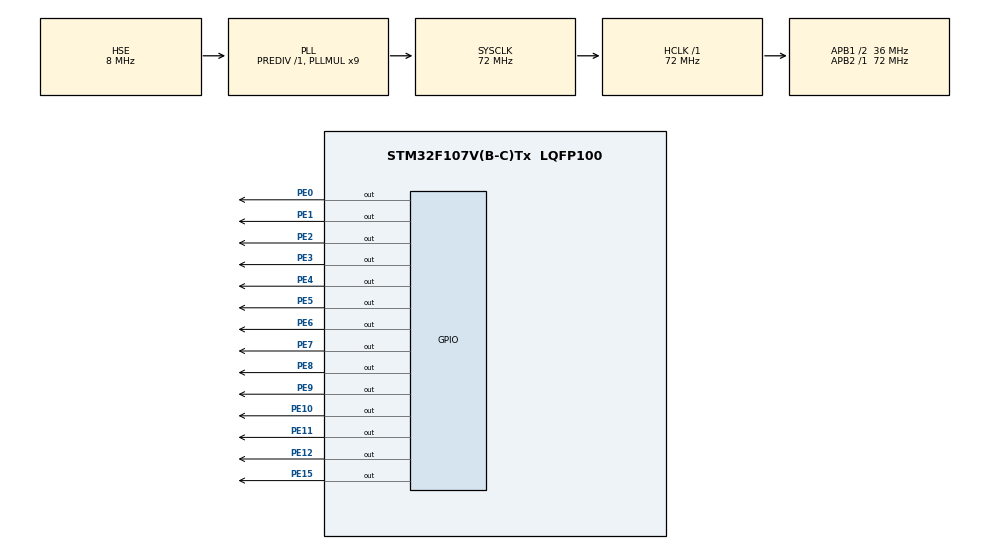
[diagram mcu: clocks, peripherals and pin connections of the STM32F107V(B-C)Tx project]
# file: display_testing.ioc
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Mcu.Family=STM32F1
Mcu.Name=STM32F107V(B-C)Tx
Mcu.Package=LQFP100
NVIC.PriorityGroup=NVIC_PRIORITYGROUP_4
OSC_IN.Mode=HSE-External-Oscillator
OSC_IN.Signal=RCC_OSC_IN
OSC_OUT.Mode=HSE-External-Oscillator
OSC_OUT.Signal=RCC_OSC_OUT
PE0.Signal=GPIO_Output
PE1.Signal=GPIO_Output
PE10.Signal=GPIO_Output
PE11.Signal=GPIO_Output
PE12.Signal=GPIO_Output
PE15.Signal=GPIO_Output
PE2.Signal=GPIO_Output
PE3.Signal=GPIO_Output
PE4.Signal=GPIO_Output
PE5.Signal=GPIO_Output
PE6.Signal=GPIO_Output
PE7.Signal=GPIO_Output
PE8.Signal=GPIO_Output
PE9.Signal=GPIO_Output
ProjectManager.HeapSize=0x200
ProjectManager.StackSize=0x400
ProjectManager.TargetToolchain=STM32CubeIDE
RCC.AHBFreq_Value=72000000
RCC.APB1CLKDivider=RCC_HCLK_DIV2
RCC.APB1Freq_Value=36000000
RCC.APB1TimFreq_Value=72000000
RCC.APB2Freq_Value=72000000
RCC.APB2TimFreq_Value=72000000
RCC.HCLKFreq_Value=72000000
RCC.PLLMUL=RCC_PLL_MUL9
RCC.PLLSourceVirtual=RCC_PLLSOURCE_HSE
RCC.SYSCLKFreq_VALUE=72000000
RCC.SYSCLKSource=RCC_SYSCLKSOURCE_PLLCLK
RCC.USBFreq_Value=48000000
TIM1.Prescaler=72-1
VP_SYS_VS_ND.Mode=No_Debug
VP_TIM1_VS_ClockSourceINT.Mode=Internal
board=custom

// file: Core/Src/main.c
/* USER CODE BEGIN Header */
/**
  ******************************************************************************
  * @file           : main.c
  * @brief          : Main program body
  ******************************************************************************
  * @attention
  *
  * Copyright (c) 2025 STMicroelectronics.
  * All rights reserved.
  *
  * This software is licensed under terms that can be found in the LICENSE file
  * in the root directory of this software component.
  * If no LICENSE file comes with this software, it is provided AS-IS.
  *
  ******************************************************************************
  */
/* USER CODE END Header */
#include "main.h"

/* USER CODE BEGIN Includes */
#include "fonts.h"
#include "tft.h"
#include "functions.h"
/* USER CODE END Includes */

TIM_HandleTypeDef htim1;

void SystemClock_Config(void);
static void MX_GPIO_Init(void);
static void MX_TIM1_Init(void);

/* USER CODE BEGIN 0 */
uint16_t ID = 0;
/* USER CODE END 0 */

int main(void)
{

  /* MCU Configuration--------------------------------------------------------*/

  /* Reset of all peripherals, Initializes the Flash interface and the Systick. */
  HAL_Init();

  /* Configure the system clock */
  SystemClock_Config();

  /* Initialize all configured peripherals */
  MX_GPIO_Init();
  MX_TIM1_Init();
  /* USER CODE BEGIN 2 */

  HAL_TIM_Base_Start(&htim1);

  ID = readID();

  HAL_Delay(100);

  tft_init (ID);

  setRotation(0);

  fillScreen(BLACK);

// testFillScreen();
//  testLines(CYAN);
//  testFastLines(RED, BLUE);
//  testFilledCircles(10, MAGENTA);
//  testCircles(10, WHITE);

  fillScreen(BLACK);

  setRotation(0);

  printnewtstr(100, RED, &mono12x7bold, 1, "yes I am working dude");

  scrollup(100);

  invertDisplay(1);

  /* USER CODE END 2 */

  /* Infinite loop */
  while (1)
  {

  }
}

void SystemClock_Config(void)
{
  RCC_OscInitTypeDef RCC_OscInitStruct = {0};
  RCC_ClkInitTypeDef RCC_ClkInitStruct = {0};

  /** Initializes the RCC Oscillators according to the specified parameters
  * in the RCC_OscInitTypeDef structure.
  */
  RCC_OscInitStruct.OscillatorType = RCC_OSCILLATORTYPE_HSE;
  RCC_OscInitStruct.HSEState = RCC_HSE_ON;
  RCC_OscInitStruct.HSEPredivValue = RCC_HSE_PREDIV_DIV1;
  RCC_OscInitStruct.HSIState = RCC_HSI_ON;
  RCC_OscInitStruct.Prediv1Source = RCC_PREDIV1_SOURCE_HSE;
  RCC_OscInitStruct.PLL.PLLState = RCC_PLL_ON;
  RCC_OscInitStruct.PLL.PLLSource = RCC_PLLSOURCE_HSE;
  RCC_OscInitStruct.PLL.PLLMUL = RCC_PLL_MUL9;
  RCC_OscInitStruct.PLL2.PLL2State = RCC_PLL_NONE;
  if (HAL_RCC_OscConfig(&RCC_OscInitStruct) != HAL_OK)
  {
    Error_Handler();
  }

  /** Initializes the CPU, AHB and APB buses clocks
  */
  RCC_ClkInitStruct.ClockType = RCC_CLOCKTYPE_HCLK|RCC_CLOCKTYPE_SYSCLK
                              |RCC_CLOCKTYPE_PCLK1|RCC_CLOCKTYPE_PCLK2;
  RCC_ClkInitStruct.SYSCLKSource = RCC_SYSCLKSOURCE_PLLCLK;
  RCC_ClkInitStruct.AHBCLKDivider = RCC_SYSCLK_DIV1;
  RCC_ClkInitStruct.APB1CLKDivider = RCC_HCLK_DIV2;
  RCC_ClkInitStruct.APB2CLKDivider = RCC_HCLK_DIV1;

  if (HAL_RCC_ClockConfig(&RCC_ClkInitStruct, FLASH_LATENCY_2) != HAL_OK)
  {
    Error_Handler();
  }

  /** Configure the Systick interrupt time
  */
  __HAL_RCC_PLLI2S_ENABLE();
}

static void MX_TIM1_Init(void)
{

  TIM_ClockConfigTypeDef sClockSourceConfig = {0};
  TIM_MasterConfigTypeDef sMasterConfig = {0};

  htim1.Instance = TIM1;
  htim1.Init.Prescaler = 72-1;
  htim1.Init.CounterMode = TIM_COUNTERMODE_UP;
  htim1.Init.Period = 65535;
  htim1.Init.ClockDivision = TIM_CLOCKDIVISION_DIV1;
  htim1.Init.RepetitionCounter = 0;
  htim1.Init.AutoReloadPreload = TIM_AUTORELOAD_PRELOAD_DISABLE;
  if (HAL_TIM_Base_Init(&htim1) != HAL_OK)
  {
    Error_Handler();
  }
  sClockSourceConfig.ClockSource = TIM_CLOCKSOURCE_INTERNAL;
  if (HAL_TIM_ConfigClockSource(&htim1, &sClockSourceConfig) != HAL_OK)
  {
    Error_Handler();
  }
  sMasterConfig.MasterOutputTrigger = TIM_TRGO_RESET;
  sMasterConfig.MasterSlaveMode = TIM_MASTERSLAVEMODE_DISABLE;
  if (HAL_TIMEx_MasterConfigSynchronization(&htim1, &sMasterConfig) != HAL_OK)
  {
    Error_Handler();
  }

}

static void MX_GPIO_Init(void)
{
  GPIO_InitTypeDef GPIO_InitStruct = {0};

  /* GPIO Ports Clock Enable */
  __HAL_RCC_GPIOE_CLK_ENABLE();

  /*Configure GPIO pin Output Level */
  HAL_GPIO_WritePin(GPIOE, GPIO_PIN_2|GPIO_PIN_3|GPIO_PIN_4|GPIO_PIN_5
                          |GPIO_PIN_6|GPIO_PIN_7|GPIO_PIN_8|GPIO_PIN_9
                          |GPIO_PIN_10|GPIO_PIN_11|GPIO_PIN_12|GPIO_PIN_15
                          |GPIO_PIN_0|GPIO_PIN_1, GPIO_PIN_RESET);

  /*Configure GPIO pins : PE2 PE3 PE4 PE5
                           PE6 PE7 PE8 PE9
                           PE10 PE11 PE12 PE15
                           PE0 PE1 */
  GPIO_InitStruct.Pin = GPIO_PIN_2|GPIO_PIN_3|GPIO_PIN_4|GPIO_PIN_5
                          |GPIO_PIN_6|GPIO_PIN_7|GPIO_PIN_8|GPIO_PIN_9
                          |GPIO_PIN_10|GPIO_PIN_11|GPIO_PIN_12|GPIO_PIN_15
                          |GPIO_PIN_0|GPIO_PIN_1;
  GPIO_InitStruct.Mode = GPIO_MODE_OUTPUT_PP;
  GPIO_InitStruct.Pull = GPIO_NOPULL;
  GPIO_InitStruct.Speed = GPIO_SPEED_FREQ_LOW;
  HAL_GPIO_Init(GPIOE, &GPIO_InitStruct);

}

void Error_Handler(void)
{
  __disable_irq();
  while (1)
  {
  }
}
